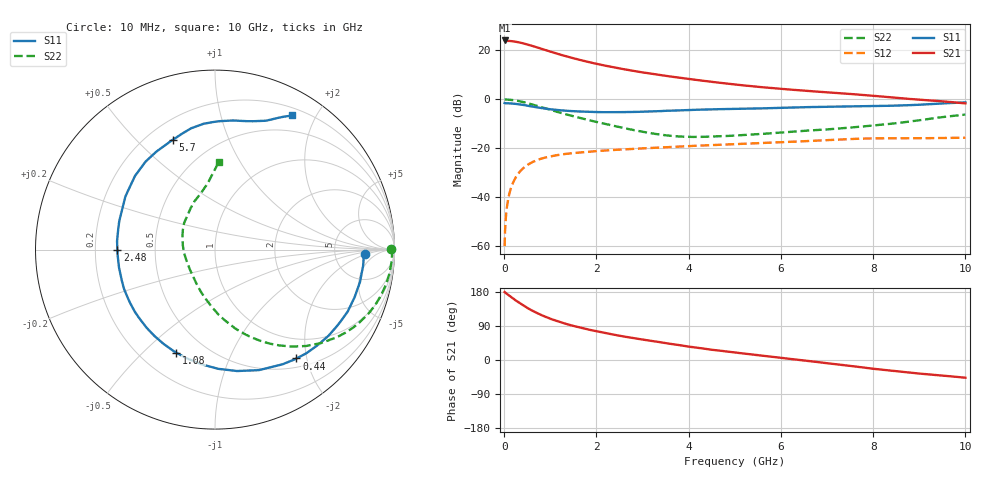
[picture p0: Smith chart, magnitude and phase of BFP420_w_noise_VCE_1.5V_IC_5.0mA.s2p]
! Infineon Technologies  Discrete & RF Semiconductors
! BFP420
! VCE =  1.5 V,  IC =  5.0 mA
! Common Emitter S-Parameters:  Jan 2016
# GHz  S  MA  R  50
!  f  S11  S21  S12  S22
! GHz  MAG  ANG  MAG  ANG  MAG  ANG  MAG  ANG
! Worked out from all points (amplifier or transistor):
!   233 points, 10 MHz to 10 GHz, reference 50 ohm
!   highest |S21| = 24.0 dB at 10 MHz (marker M1)
!   |S21| within 3 dB of that: start of sweep to 740.7 MHz
!   unconditionally stable (mu >= 1): 2.968 GHz to end of sweep
!   at 200 MHz: K = 0.07, MSG = 28.7 dB, |S12| = -33.8 dB
!   at 1.74 GHz: K = 0.62, MSG = 18.6 dB, |S12| = -21.6 dB
!   at 10 GHz: K = 1.12, MAG = 4.9 dB, |S12| = -15.7 dB
!   lowest NFmin = 0.66 dB at 900 MHz
!   S11 on the Smith chart (normalised r, x): 10 MHz: 11, -2; 440 MHz: 0.64, -1.82; 1.08 GHz: 0.35, -0.64; 2.48 GHz: 0.30, +0.00; 5.7 GHz: 0.30, +0.64; 10 GHz: 0.29, +1.69
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0.01  0.8377 -1.7  15.87 179.3  0.001 86.2  0.9824 0.2
0.02  0.8302 -2.5  15.5 178.4  0.0021 91.6  0.9869 -1.5
0.07  0.8279 -8.8  15.53 173.5  0.0073 85.2  0.9836 -5.4
0.15  0.8218 -18.9  15.41 166.3  0.0156 80.2  0.9723 -11.6
0.24  0.806 -29.9  14.96 158.2  0.0243 74.6  0.9473 -18.4
0.34  0.7835 -41.8  14.38 149.9  0.0332 68.5  0.9096 -25.4
0.44  0.7574 -53.2  13.64 142.1  0.0411 63.1  0.8651 -32.0
0.6  0.7147 -70.0  12.37 130.7  0.0515 55.5  0.7876 -41.4
0.7  0.6876 -79.7  11.56 124.4  0.0567 51.5  0.739 -46.6
0.9  0.643 -96.9  10.07 113.5  0.0649 44.9  0.649 -55.6
1.08  0.613 -110.5  8.915 105.4  0.0704 40.4  0.5782 -62.4
1.4  0.5784 -131.3  7.285 93.1  0.0778 34.3  0.4759 -73.1
1.68  0.5602 -146.4  6.229 84.5  0.0826 30.6  0.4067 -81.0
2.02  0.5471 -161.6  5.245 75.4  0.0876 27.2  0.3412 -89.8
2.48  0.5442 180.0  4.297 64.6  0.0933 23.4  0.2723 -102.3
3.4  0.5731 152.0  3.103 46.5  0.1035 17.8  0.1886 -132.7
4  0.6059 137.4  2.597 35.3  0.1105 14.5  0.1708 -156.6
5.1  0.6378 119.5  1.956 18.4  0.1222 8.5  0.183 169.3
5.7  0.6551 111.1  1.726 10.0  0.1286 5.5  0.1992 155.0
6.8  0.697 97.5  1.428 -5.5  0.1436 -1.1  0.2356 133.7
8.4  0.7371 76.1  1.091 -28.4  0.1594 -15.1  0.3167 105.8
10  0.8619 60.1  0.823 -46.8  0.1639 -24.8  0.487 87.6
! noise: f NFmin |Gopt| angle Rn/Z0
0.9  0.66  0.21  31  0.15
1.8  1.05  0.09  93  0.13
2.4  1.14  0.14  119  0.13
3  1.24  0.17  165  0.11
4  1.41  0.31  -145  0.12
5  1.85  0.38  -119  0.21
6  2.3  0.45  -101  0.36
